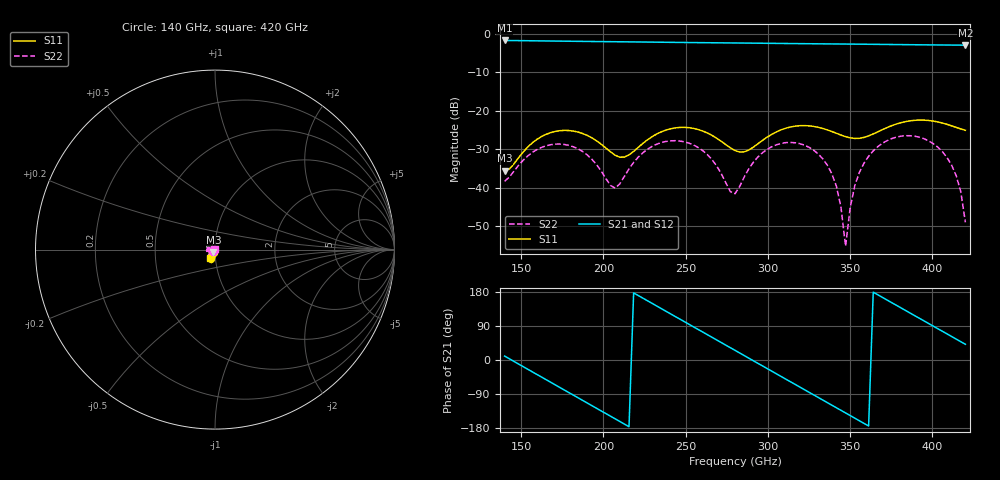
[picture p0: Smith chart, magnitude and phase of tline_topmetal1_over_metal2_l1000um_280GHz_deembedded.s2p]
! Created with skrf 2.0.1 (http://scikit-rf.org).
# GHz S DB R 50.0
!freq dBS11 angS11 dBS21 angS21 dBS12 angS12 dBS22 angS22
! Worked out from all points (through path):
!   101 points, 140 GHz to 420 GHz, reference 50 ohm
!   highest |S21| = -1.73 dB at 140 GHz (marker M1); lowest = -3.0 dB at 420 GHz (marker M2)
!   group delay of S21, straight-line fit = 6.83 ps
!   lowest |S11| = -35.6 dB at 140 GHz (marker M3), VSWR 1.03, Z = 49.1 - j1.34 ohm
!   |S11| at or under -10 dB: start of sweep to end of sweep
!   |S22| runs from -55.2 to -26.5 dB; largest |S21 - S12| = 9.2e-14
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140  -35.61 -124.4  -1.73 10.4  -1.73 10.4  -38.34 -138.9
154  -29.46 -89.8  -1.80 -24.2  -1.80 -24.2  -31.78 -120.1
168  -25.69 -106.1  -1.87 -58.8  -1.87 -58.8  -28.83 -143.1
187.6  -25.96 -135.2  -1.97 -107.0  -1.97 -107.0  -30.66 180.0
207.2  -31.57 -132.3  -2.06 -155.3  -2.06 -155.3  -40.10 -151.2
221.2  -29.53 -96.2  -2.12 170.2  -2.12 170.2  -32.07 -121.0
235.2  -25.49 -101.5  -2.19 135.7  -2.19 135.7  -28.28 -144.4
257.6  -24.88 -129.8  -2.29 80.6  -2.29 80.6  -29.55 170.3
280  -30.35 -126.6  -2.38 25.5  -2.38 25.5  -41.59 -156.2
291.2  -29.45 -97.9  -2.43 -2.1  -2.43 -2.1  -33.37 -125.5
302.4  -26.12 -93.3  -2.48 -29.6  -2.48 -29.6  -29.35 -143.4
327.6  -24.07 -116.2  -2.59 -91.6  -2.59 -91.6  -30.20 160.9
341.6  -25.86 -121.6  -2.64 -126.0  -2.64 -126.0  -39.60 133.5
344.4  -26.32 -120.4  -2.66 -132.8  -2.66 -132.8  -45.13 135.4
347.2  -26.74 -118.1  -2.67 -139.7  -2.67 -139.7  -55.21 -161.3
350  -27.05 -114.9  -2.68 -146.6  -2.68 -146.6  -45.16 -94.9
355.6  -27.17 -106.8  -2.70 -160.4  -2.70 -160.4  -36.02 -96.6
375.2  -23.89 -96.3  -2.78 151.4  -2.78 151.4  -27.25 -141.2
392  -22.43 -109.0  -2.86 110.2  -2.86 110.2  -26.88 177.0
406  -23.20 -119.3  -2.91 75.8  -2.91 75.8  -30.63 140.6
414.4  -24.32 -120.7  -2.94 55.2  -2.94 55.2  -36.87 115.4
420  -25.10 -118.1  -2.96 41.5  -2.96 41.5  -49.01 74.7
